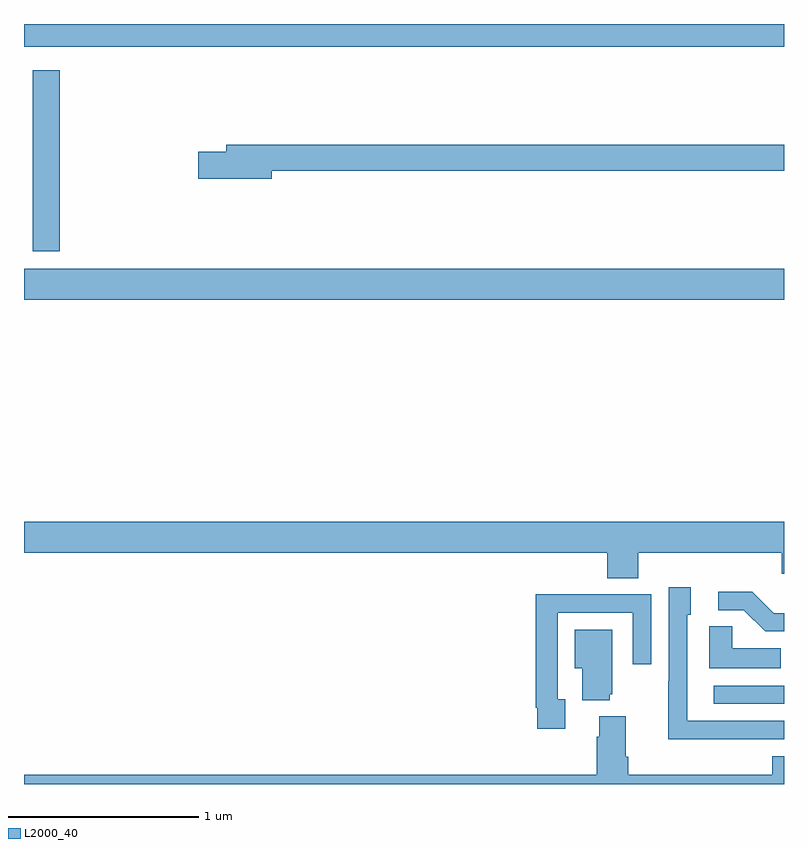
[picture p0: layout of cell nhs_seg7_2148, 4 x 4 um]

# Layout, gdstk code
import gdstk
lib = gdstk.Library(unit=1e-6, precision=1e-09)
def R(c, l, rs):  # rectangles x0, y0, x1, y1
    for r in rs: c.add(gdstk.rectangle(r[:2], r[2:], *l))
def P(c, l, *ps):  # polygons
    for p in ps: c.add(gdstk.Polygon(p, *l))
L2000_40 = (2000, 40)

nhs_seg7_2148 = lib.new_cell('nhs_seg7_2148')
R(nhs_seg7_2148, L2000_40, [(254.631,1066.422,255,1066.518), (251,1068.548,255,1068.712), (251.045,1068.804,251.189,1069.756), (251,1069.88,255,1070)])
P(nhs_seg7_2148, L2000_40, [(252.304,1069.228),(255,1069.228),(255,1069.364),(252.065,1069.364),(252.065,1069.328),(251.916,1069.328),(251.916,1069.186),(252.304,1069.186)],
  [(254.234,1067.216),(254.987,1067.216),(254.987,1067.107),(255,1067.107),(255,1067.38),(251,1067.38),(251,1067.216),(254.069,1067.216),(254.069,1067.083),(254.234,1067.083)],
  [(254.855,1066.236),(255,1066.236),(255,1066.332),(254.49,1066.332),(254.49,1066.89),(254.509,1066.89),(254.509,1067.035),(254.394,1067.035),(254.394,1066.541),(254.392,1066.541),(254.392,1066.235),(254.855,1066.235)],
  [(255,1066.899),(254.946,1066.899),(254.833,1067.012),(254.655,1067.012),(254.655,1066.914),(254.789,1066.914),(254.9,1066.803),(255,1066.803)],
  [(253.849,1066.446),(253.809,1066.446),(253.809,1066.902),(254.205,1066.902),(254.205,1066.629),(254.301,1066.629),(254.301,1066.998),(253.985,1066.998),(253.985,1067),(253.693,1067),(253.693,1066.402),(253.701,1066.402),(253.701,1066.29),(253.849,1066.29)],
  [(254.984,1066.714),(254.727,1066.714),(254.727,1066.829),(254.606,1066.829),(254.606,1066.61),(254.984,1066.61)],
  [(254.084,1066.473),(254.095,1066.473),(254.095,1066.813),(253.898,1066.813),(253.898,1066.61),(253.937,1066.61),(253.937,1066.442),(254.084,1066.442)],
  [(254.167,1066.144),(254.167,1066.357),(254.027,1066.357),(254.027,1066.25),(254.015,1066.25),(254.015,1066.048),(251,1066.048),(251,1066),(255,1066),(255,1066.147),(254.939,1066.147),(254.939,1066.048),(254.18,1066.048),(254.18,1066.144)])

lib.write_gds('nhs_seg7_2148.gds')
